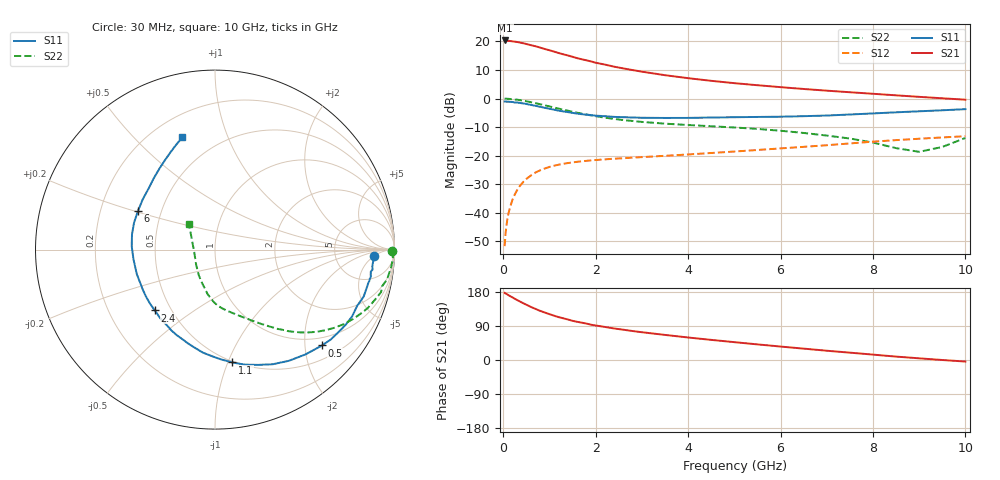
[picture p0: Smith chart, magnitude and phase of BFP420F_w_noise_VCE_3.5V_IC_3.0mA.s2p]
! Infineon Technologies  Discrete & RF Semiconductors
! BFP420F
! VCE =  3.5 V,  IC =  3.0 mA
! Common Emitter S-Parameters:  Sep 2011
# GHz  S  MA  R  50
!  f  S11  S21  S12  S22
! GHz  MAG  ANG  MAG  ANG  MAG  ANG  MAG  ANG
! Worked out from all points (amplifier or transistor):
!   54 points, 30 MHz to 10 GHz, reference 50 ohm
!   highest |S21| = 20.3 dB at 40 MHz (marker M1)
!   |S21| within 3 dB of that: start of sweep to 901.5 MHz
!   unconditionally stable (mu >= 1): 2.439 GHz to end of sweep
!   at 120 MHz: K = 0.10, MSG = 30.0 dB, |S12| = -39.8 dB
!   at 1.3 GHz: K = 0.52, MSG = 19.2 dB, |S12| = -22.9 dB
!   at 10 GHz: K = 1.52, MAG = 2.1 dB, |S12| = -13.2 dB
!   lowest NFmin = 0.85 dB at 450 MHz
!   S11 on the Smith chart (normalised r, x): 30 MHz: 15, -5; 500 MHz: 0.80, -2.39; 1.1 GHz: 0.49, -1.04; 2.4 GHz: 0.41, -0.36; 6 GHz: 0.37, +0.21; 10 GHz: 0.32, +0.70
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0.03  0.8857 -2.2  10.37 177.2  0.0026 82.8  0.9887 -0.5
0.04  0.8844 -2.9  10.38 176.4  0.0033 83.0  0.9915 -0.8
0.12  0.877 -10.9  10.26 170.4  0.0102 82.0  0.9856 -5.8
0.3  0.8498 -26.0  9.76 158.3  0.0249 75.2  0.9553 -14.3
0.4  0.8263 -34.1  9.39 151.8  0.0322 71.0  0.9251 -18.7
0.5  0.8008 -41.8  8.998 145.9  0.0391 67.0  0.8955 -22.8
0.7  0.7438 -56.4  8.208 134.7  0.0507 59.8  0.8289 -30.1
0.8  0.7155 -63.2  7.779 129.6  0.0554 56.7  0.7942 -33.3
1.1  0.6363 -81.2  6.63 116.9  0.0666 49.0  0.6948 -41.6
1.2  0.6133 -86.7  6.249 113.1  0.0694 47.1  0.6653 -43.9
1.5  0.559 -101.4  5.369 103.4  0.0762 42.4  0.5867 -49.7
1.7  0.5308 -110.1  4.862 98.5  0.0795 40.1  0.5424 -53.2
1.9  0.5121 -118.2  4.456 93.1  0.0825 38.4  0.506 -56.2
2.4  0.4767 -134.7  3.605 83.2  0.0883 35.4  0.4394 -63.3
3.5  0.4565 -162.6  2.559 66.2  0.0993 33.8  0.3629 -75.3
4.5  0.4644 177.7  2.04 53.1  0.1112 33.9  0.3269 -83.7
5.5  0.4754 161.5  1.708 41.2  0.1255 33.8  0.2934 -91.1
6  0.4801 153.5  1.58 35.5  0.1338 33.6  0.2726 -95.0
7  0.5032 137.2  1.372 24.5  0.1521 32.3  0.2245 -104.5
8.5  0.5731 118.8  1.136 9.0  0.1868 27.6  0.1353 -140.8
9  0.5972 114.4  1.069 4.4  0.1976 25.3  0.1165 -171.0
10  0.651 106.3  0.953 -4.1  0.2187 20.5  0.2038 135.5
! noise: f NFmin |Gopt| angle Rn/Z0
0.45  0.85  0.4  15  0.19
0.9  0.9  0.38  35  0.21
1.9  1.14  0.29  89  0.16
2.4  1.25  0.29  101  0.16
3.5  1.61  0.32  139  0.17
